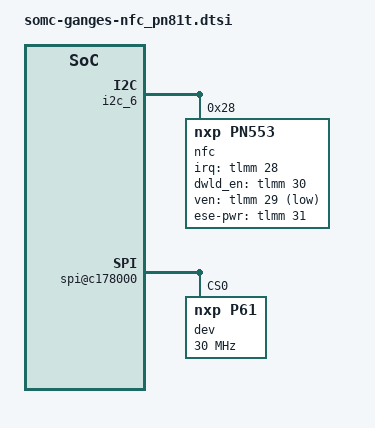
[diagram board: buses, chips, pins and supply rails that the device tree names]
/* arch/arm64/boot/dts/somc/somc-ganges-nfc_pn81t.dtsi
 *
 * This program is free software; you can redistribute it and/or modify
 * it under the terms of the GNU General Public License version 2 and
 * only version 2 as published by the Free Software Foundation.
 *
 * This program is distributed in the hope that it will be useful,
 * but WITHOUT ANY WARRANTY; without even the implied warranty of
 * MERCHANTABILITY or FITNESS FOR A PARTICULAR PURPOSE.  See the
 * GNU General Public License for more details.
 */
/*
 * Copyright (C) 2019 Sony Mobile Communications Inc.
 *
 * This program is free software; you can redistribute it and/or modify
 * it under the terms of the GNU General Public License version 2, as
 * published by the Free Software Foundation.
 */

&i2c_6 {
    /delete-node/nq@28;
	nfc@28 {
		compatible = "nxp,pn553";
		reg = <0x28>;
		interrupt-parent = <&tlmm>;
		interrupts = <28 0x1>;
		nxp,irq_gpio = <&tlmm 28 0x00>;
		nxp,dwld_en = <&tlmm 30 0x00>;
		nxp,ven = <&tlmm 29 0x01>;
		nxp,ese-pwr = <&tlmm 31 0x00>;
	};
};


&soc {
	nfc,pm-ops {
		compatible = "sony,pn553-pm-ops";
	};

	/* SPI: BLSP1 QUP4 */
	spi@c178000 {
		compatible = "qcom,spi-qup-cloned";
		pinctrl-0 = <&sdm_gpio_13 &sdm_gpio_12 &sdm_gpio_15>;
		pinctrl-1 = <&sdm_gpio_13_sleep &sdm_gpio_12 &sdm_gpio_15>;
		nxp,ese-pwr = <&tlmm 31 0x00>;
		nxp,ese-cs = <&tlmm 14 0x00>;
		status = "okay";

		dev@0 {
			compatible = "nxp,p61";
			reg = <0>;
			spi-max-frequency = <30000000>;
		};
	};
};

&tlmm {
	sdm_gpio_13_sleep: sdm_gpio_13_sleep {
		mux {
			pins = "gpio13";
			function = "gpio";
		};

		config {
			pins = "gpio13";
			drive-strength = <2>;
			output-low;
		};
	};
};
